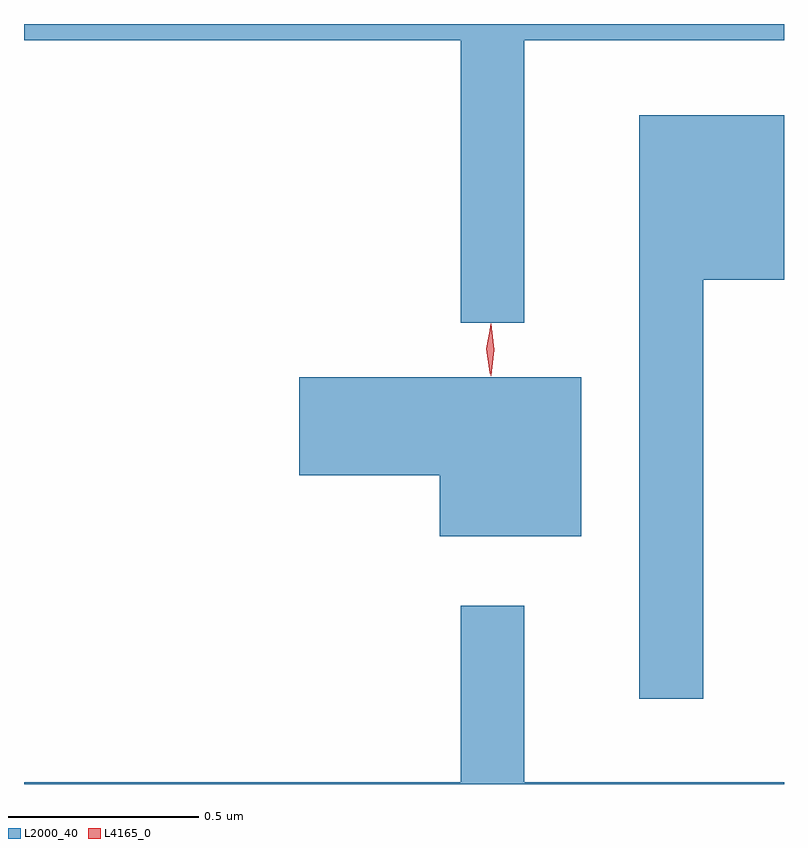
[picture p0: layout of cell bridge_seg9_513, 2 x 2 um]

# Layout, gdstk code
import gdstk
lib = gdstk.Library(unit=1e-6, precision=1e-09)
def P(c, l, *ps):  # polygons
    for p in ps: c.add(gdstk.Polygon(p, *l))
L2000_40 = (2000, 40)
L4165_0 = (4165, 0)

bridge_seg9_513 = lib.new_cell('bridge_seg9_513')
P(bridge_seg9_513, L2000_40, [(600.689,1949.636),(601.372,1949.636),(601.372,1949.679),(599.372,1949.679),(599.372,1949.636),(600.521,1949.636),(600.521,1948.893),(600.689,1948.893)],
  [(601.159,1949.006),(601.372,1949.006),(601.372,1949.439),(600.991,1949.439),(600.991,1947.903),(601.159,1947.903)],
  [(600.839,1948.749),(600.096,1948.749),(600.096,1948.491),(600.466,1948.491),(600.466,1948.331),(600.839,1948.331)],
  [(601.372,1947.684),(600.689,1947.684),(600.689,1948.148),(600.521,1948.148),(600.521,1947.684),(599.372,1947.684),(599.372,1947.679),(601.372,1947.679)])
P(bridge_seg9_513, L4165_0, [(600.6,1948.754),(600.6,1948.754),(600.59,1948.822),(600.6,1948.89),(600.6,1948.89),(600.601,1948.89),(600.61,1948.822),(600.601,1948.754)],
  [(600.598,1948.76),(600.598,1948.761),(600.589,1948.824),(600.6,1948.886),(600.6,1948.887),(600.601,1948.886),(600.609,1948.823),(600.599,1948.761)])

lib.write_gds('bridge_seg9_513.gds')
